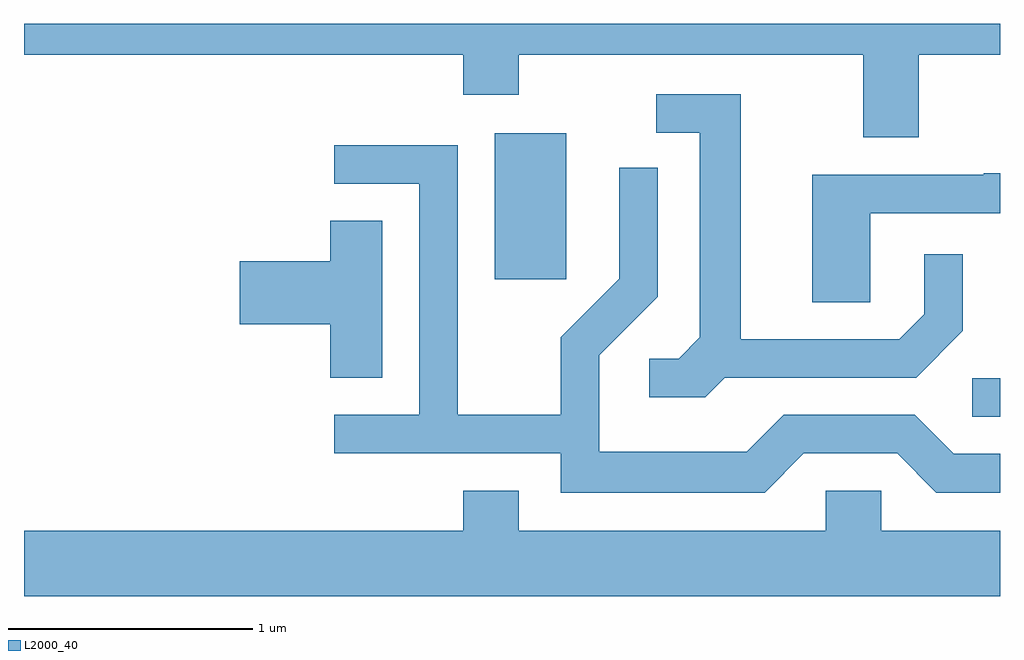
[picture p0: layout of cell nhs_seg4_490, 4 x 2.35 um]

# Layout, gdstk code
import gdstk
lib = gdstk.Library(unit=1e-6, precision=1e-09)
def R(c, l, rs):  # rectangles x0, y0, x1, y1
    for r in rs: c.add(gdstk.rectangle(r[:2], r[2:], *l))
def P(c, l, *ps):  # polygons
    for p in ps: c.add(gdstk.Polygon(p, *l))
L2000_40 = (2000, 40)

nhs_seg4_490 = lib.new_cell('nhs_seg4_490')
R(nhs_seg4_490, L2000_40, [(203.498,1284.371,203.611,1284.529), (201.541,1284.936,201.834,1285.534)])
P(nhs_seg4_490, L2000_40, [(203.279,1285.856),(203.611,1285.856),(203.611,1285.982),(199.611,1285.982),(199.611,1285.856),(201.411,1285.856),(201.411,1285.691),(201.639,1285.691),(201.639,1285.856),(203.051,1285.856),(203.051,1285.516),(203.279,1285.516)],
  [(202.482,1284.531),(203.267,1284.531),(203.459,1284.724),(203.459,1285.038),(203.301,1285.038),(203.301,1284.792),(203.199,1284.689),(202.549,1284.689),(202.549,1285.694),(202.203,1285.694),(202.203,1285.536),(202.381,1285.536),(202.381,1284.697),(202.294,1284.609),(202.173,1284.609),(202.173,1284.451),(202.402,1284.451)],
  [(202.807,1284.221),(203.189,1284.221),(203.349,1284.061),(203.611,1284.061),(203.611,1284.219),(203.422,1284.219),(203.262,1284.379),(202.724,1284.379),(202.574,1284.229),(201.969,1284.229),(201.969,1284.624),(202.209,1284.864),(202.209,1285.393),(202.051,1285.393),(202.051,1284.937),(201.811,1284.697),(201.811,1284.379),(201.389,1284.379),(201.389,1285.484),(200.883,1285.484),(200.883,1285.326),(201.231,1285.326),(201.231,1284.379),(200.883,1284.379),(200.883,1284.221),(201.811,1284.221),(201.811,1284.061),(202.647,1284.061)],
  [(203.079,1285.206),(203.611,1285.206),(203.611,1285.369),(203.545,1285.369),(203.545,1285.364),(202.841,1285.364),(202.841,1284.841),(203.079,1284.841)],
  [(201.079,1285.174),(200.866,1285.174),(200.866,1285.009),(200.496,1285.009),(200.496,1284.751),(200.866,1284.751),(200.866,1284.531),(201.079,1284.531)],
  [(203.611,1283.904),(203.124,1283.904),(203.124,1284.069),(202.896,1284.069),(202.896,1283.904),(201.639,1283.904),(201.639,1284.069),(201.411,1284.069),(201.411,1283.904),(199.611,1283.904),(199.611,1283.636),(203.611,1283.636)])

lib.write_gds('nhs_seg4_490.gds')
